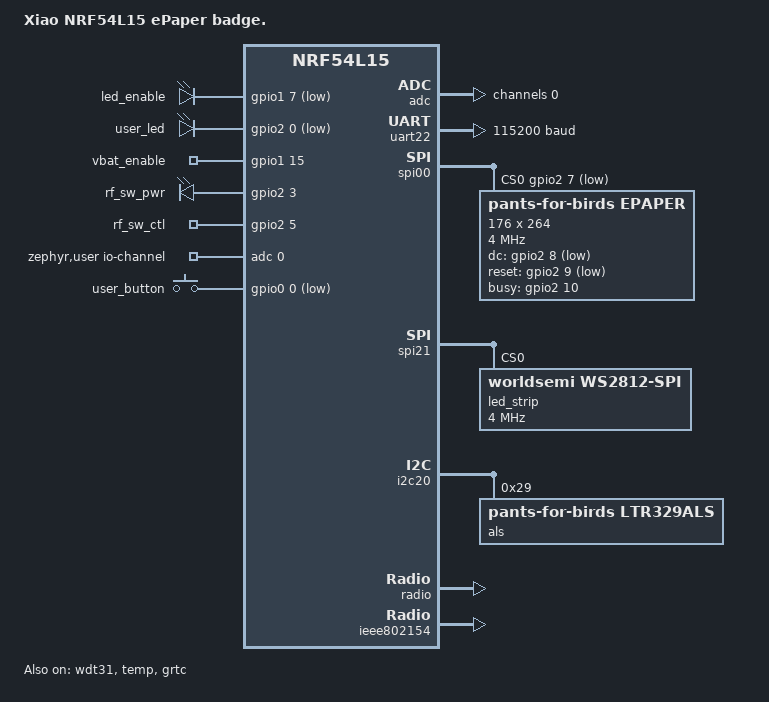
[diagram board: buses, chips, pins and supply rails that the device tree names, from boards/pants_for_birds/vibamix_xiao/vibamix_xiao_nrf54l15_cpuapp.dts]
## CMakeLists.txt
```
#
# Copyright (c) 2018 Nordic Semiconductor
#
# SPDX-License-Identifier: LicenseRef-Nordic-5-Clause
#
cmake_minimum_required(VERSION 3.20.0)

list(APPEND BOARD_ROOT ${CMAKE_CURRENT_SOURCE_DIR})

find_package(Zephyr REQUIRED HINTS $ENV{ZEPHYR_BASE})
project(vibamix)

# Shared headers + bl_state used by both the app and the bootloader.
target_include_directories(app PRIVATE ${CMAKE_CURRENT_SOURCE_DIR}/../common)

# NORDIC SDK APP START
target_sources(app PRIVATE
  src/main.cpp
  src/GUI.cpp
  src/LEDStrip.cpp
  src/MeshNode.cpp
  src/mesh_model.c
  src/image_xfer.c
  src/app_config.c
  src/identity.c
  src/factory_id.c
  src/qr_screen.cpp
  src/config_gatt.c
  src/ConfigMode.cpp
  src/battery.c
  src/LTR329ALS.cpp
  src/ambient_light_sensor.cpp
  src/badge_store.c
  src/dither.c
  src/ota.c
  src/gateway_status.cpp
  src/event_status.cpp
  ../common/bl_state.c
)

add_subdirectory(../peripherals/epd epd)
add_subdirectory(../peripherals/qrcodegen qrcodegen)

# --- OTA artifacts: auto-trailer this slot's image, and pack vibamix.ota --------
# A build only ever links one slot (CONFIG_FLASH_LOAD_OFFSET). As a POST_BUILD step
# (Zephyr's `extra_post_build_commands`, the same hook MCUboot signing uses) we
# append the CRC trailer to zephyr.bin -> slotA.bin/slotB.bin, then pack
# vibamix.ota once BOTH slot images exist. So `scripts/build_slots.sh` (which builds
# both slots into a shared dir) yields build/vibamix.ota with no extra steps, and a
# plain single build still auto-produces its trailered slotX.bin.
if(CONFIG_BUILD_OUTPUT_BIN AND DEFINED CONFIG_FLASH_LOAD_OFFSET)
  # Where the trailered slot bins + bundle go (build_slots.sh points this at one
  # shared dir for both slot builds; a plain build keeps them in its own build dir).
  set(VBX_ARTIFACTS_DIR "${CMAKE_BINARY_DIR}" CACHE PATH "OTA artifact output dir")
  # Monotonic image version; build_slots.sh passes one shared value for both slots.
  string(TIMESTAMP _vbx_ts "%s")
  set(VBX_VERSION "${_vbx_ts}" CACHE STRING "OTA image version (e.g. epoch seconds)")

  set(_vbx_bin     "${ZEPHYR_BINARY_DIR}/zephyr.bin")
  set(_vbx_scripts "${CMAKE_CURRENT_SOURCE_DIR}/scripts")

  # Which slot did we link? (offsets mirror slot_a/slot_b_partition in the board DTS.)
  math(EXPR _vbx_off "${CONFIG_FLASH_LOAD_OFFSET}")
  if(_vbx_off EQUAL 57344)         # 0xE000
    set(_vbx_slot "A")
  elseif(_vbx_off EQUAL 581632)    # 0x8E000
    set(_vbx_slot "B")
  else()
    set(_vbx_slot "")
  endif()

  if(_vbx_slot)
    set(_vbx_slotbin "${VBX_ARTIFACTS_DIR}/slot${_vbx_slot}.bin")
    # Ordered after zephyr.bin via a file-level DEPENDS (a POST_BUILD can't attach
    # to zephyr_final from this directory scope, and the app runs too late for the
    # extra_post_build_commands hook). After the bin exists it:
    #   1) appends the CRC trailer to this slot's raw image -> slotX.bin (the OUTPUT)
    #   2) packs vibamix.ota once BOTH slot images exist (byproduct; skips otherwise)
    add_custom_command(
      OUTPUT ${_vbx_slotbin}
      BYPRODUCTS ${VBX_ARTIFACTS_DIR}/vibamix.ota
      COMMAND ${PYTHON_EXECUTABLE} ${_vbx_scripts}/vbx_trailer.py
              ${_vbx_bin} ${_vbx_slotbin} --version ${VBX_VERSION}
      COMMAND ${CMAKE_COMMAND}
              -DA=${VBX_ARTIFACTS_DIR}/slotA.bin -DB=${VBX_ARTIFACTS_DIR}/slotB.bin
              -DOUT=${VBX_ARTIFACTS_DIR}/vibamix.ota -DPY=${PYTHON_EXECUTABLE}
              -DPACK=${_vbx_scripts}/pack_ota.py -DVER=${VBX_VERSION}
              -P ${_vbx_scripts}/pack_ota.cmake
      DEPENDS ${_vbx_bin}
      COMMENT "vibamix: trailer slot ${_vbx_slot} -> ${_vbx_slotbin}; pack vibamix.ota when both slots built"
      VERBATIM)
    add_custom_target(vbx_ota ALL DEPENDS ${_vbx_slotbin})
    message(STATUS "vibamix: slot ${_vbx_slot} -> ${_vbx_slotbin} (+ vibamix.ota when both slots built)")
  else()
    message(STATUS "vibamix: CONFIG_FLASH_LOAD_OFFSET=${CONFIG_FLASH_LOAD_OFFSET} is not a known slot; skipping OTA artifacts")
  endif()
endif()

# NORDIC SDK APP END
```

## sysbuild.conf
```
# Enable MCUboot so the app is built as a signed, dual-slot image that supports
# the BLE OTA update path (see src/ota.c + docs/ble-config-api.md).
#
# nRF54L defaults already give us ED25519 signing and swap-using-move; the mode
# is set explicitly here for clarity. Swap-using-move needs no scratch partition
# and supports revert (the new image self-confirms on boot — see ota_confirm_on_boot()).
#
# NOTE: a default (development) signing key is used. For production set
# SB_CONFIG_BOOT_SIGNATURE_KEY_FILE to a real key; the same key must verify both
# the running image and any OTA'd image.
SB_CONFIG_BOOTLOADER_MCUBOOT=y
SB_CONFIG_MCUBOOT_MODE_SWAP_USING_MOVE=y
```

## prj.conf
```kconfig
#
# Copyright (c) 2018 Nordic Semiconductor
#
# SPDX-License-Identifier: LicenseRef-Nordic-5-Clause
#
CONFIG_NCS_SAMPLES_DEFAULTS=y

# --- Bluetooth Mesh badge network ---
# Each badge is a self-provisioning mesh node. Messages travel over the mesh
# ADVERTISING bearer (scan + relay flood). There is intentionally NO SIG mesh GATT
# proxy: it advertises a connectable beacon unconditionally and can't be disabled
# at runtime, which would leave the badge connectable when idle. Instead the badge
# is connectable only in config mode (button), and a config-mode badge acts as the
# gateway — badgectl writes vendor-model access payloads to the config service and
# the firmware re-originates them onto the mesh group (mesh_model_send_to_group()).
# See src/MeshNode.cpp, src/mesh_model.c, src/config_gatt.c.
CONFIG_BT=y
CONFIG_BT_OBSERVER=y          # mesh scans for incoming network PDUs
CONFIG_BT_PERIPHERAL=y        # the custom config GATT service (config mode only)
CONFIG_BT_DEVICE_NAME="vibamix"
CONFIG_BT_MESH=y
CONFIG_BT_MESH_RELAY=y        # rebroadcast so one injection reaches all badges
# NOTE: deliberately NOT enabling CONFIG_BT_MESH_GATT_PROXY / _PB_GATT (always-on
# connectable advertising) or CONFIG_BT_MESH_DK_PROV — badges self-provision with
# baked-in keys (zero-config) and are connectable only in config mode.

# SAR window sized for chunked ePaper image transfer (~113 B access payload/msg).
CONFIG_BT_MESH_RX_SEG_MAX=10
CONFIG_BT_MESH_TX_SEG_MAX=10
CONFIG_BT_MESH_RX_SEG_MSG_COUNT=2
CONFIG_BT_MESH_MODEL_GROUP_COUNT=2
CONFIG_BT_MESH_MODEL_KEY_COUNT=1

# Persistence on RRAM via ZMS (nRF54L15 uses ZMS, not NVS).
CONFIG_FLASH=y
CONFIG_FLASH_MAP=y
CONFIG_SETTINGS=y
CONFIG_ZMS=y
CONFIG_NVS=n
CONFIG_SETTINGS_ZMS_CUSTOM_SECTOR_COUNT=y
CONFIG_SETTINGS_ZMS_SECTOR_COUNT=16
CONFIG_ZMS_LOOKUP_CACHE=y
CONFIG_ZMS_LOOKUP_CACHE_FOR_SETTINGS=y
CONFIG_BT_SETTINGS=y          # persist mesh seq/RPL/IV across reboots

# Deterministic unicast address derived from the FICR device id.
CONFIG_HWINFO=y

# Battery-voltage ADC (SAADC on AIN7) — see src/battery.c.
CONFIG_ADC=y

# --- Config mode: button-triggered QR + Web Bluetooth onboarding ---
# Per-device GAP name "vibamix-XXXX" so a browser can pick this exact badge; the
# config-mode fast advertiser carries it in its scan response. See src/ConfigMode.cpp.
CONFIG_BT_DEVICE_NAME_DYNAMIC=y
CONFIG_BT_DEVICE_NAME_MAX=28
CONFIG_BT_MAX_CONN=2
# A dedicated fast connectable advertiser during config mode (config service UUID +
# name in the primary AD, ~100 ms) so a laptop finds the badge instantly. The mesh
# stack already reserves 4 ext-adv sets here (main + 2 relay + separate-GATT); add
# one for ours. See start_fast_adv() in src/ConfigMode.cpp.
CONFIG_BT_EXT_ADV=y
CONFIG_BT_EXT_ADV_MAX_ADV_SET=5
# Fast GATT image upload: large ATT MTU + LL data length so a draw uploads quickly.
CONFIG_BT_L2CAP_TX_MTU=247
CONFIG_BT_BUF_ACL_TX_SIZE=251
CONFIG_BT_BUF_ACL_RX_SIZE=251
CONFIG_BT_CTLR_DATA_LENGTH_MAX=251

CONFIG_SYSTEM_WORKQUEUE_STACK_SIZE=4096
CONFIG_BT_RX_STACK_SIZE=5120

CONFIG_CPP=y

CONFIG_SPI=y
CONFIG_I2C=y
CONFIG_GPIO=y
CONFIG_LED_STRIP=y

# CONFIG_SERIAL=y
# CONFIG_CONSOLE=y
# CONFIG_UART_CONSOLE=y

# Deep sleep (System OFF) after the boot LED animation — see main.cpp.
CONFIG_POWEROFF=y

# --- Custom direct-XIP OTA (no MCUboot; see firmware/bootloader/ + src/ota.c) ---
# The app is linked into a slot via the DT code-partition; OTA writes the other
# slot raw via flash_area and a CRC trailer, then reboots into the bootloader.
CONFIG_USE_DT_CODE_PARTITION=y
CONFIG_REBOOT=y
CONFIG_WATCHDOG=y   # the app feeds wdt31 (armed by the bootloader) to signal a valid boot
```

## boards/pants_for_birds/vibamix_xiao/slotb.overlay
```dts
/*
 * Direct-XIP slot-B build overlay. The default board DTS links the app into
 * slot A; pass this via -DEXTRA_DTC_OVERLAY_FILE to link the same source into
 * slot B instead (CONFIG_FLASH_LOAD_OFFSET follows the chosen code-partition).
 * See scripts/build_slots.sh and src/slots.h.
 */
/ {
	chosen {
		zephyr,code-partition = &slot_b_partition;
	};
};
```

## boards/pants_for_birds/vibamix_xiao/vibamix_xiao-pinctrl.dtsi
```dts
#include <dt-bindings/pinctrl/nrf-pinctrl.h>

&pinctrl {
	/* ePaper display on high-speed SPI00 - MISO omitted, display is write-only.
	 * spi00 (not spi20) so SERIAL20 stays free for the i2c20 light sensor; pins
	 * are unchanged (spi00 natively reaches P2.01/P2.02).
	 */
	spi00_default: spi00_default {
		group1 {
			psels = <NRF_PSEL(SPIM_SCK,  2, 1)>,	/* P2.01 SPI_CLK  */
				<NRF_PSEL(SPIM_MOSI, 2, 2)>;	/* P2.02 SPI_MOSI */
		};
	};

	spi00_sleep: spi00_sleep {
		group1 {
			psels = <NRF_PSEL(SPIM_SCK,  2, 1)>,
				<NRF_PSEL(SPIM_MOSI, 2, 2)>;
			low-power-enable;
		};
	};

	/* WS2812 LED strip - SCK routed to NC P1.05, only MOSI (DIN) is wired */
	spi21_default: spi21_default {
		group1 {
			psels = <NRF_PSEL(SPIM_MOSI, 1, 6)>,	/* P1.06 LED_DIN  */
				<NRF_PSEL(SPIM_SCK,  1, 5)>;	/* P1.05 NC       */
		};
	};

	spi21_sleep: spi21_sleep {
		group1 {
			psels = <NRF_PSEL(SPIM_MOSI, 1, 6)>,
				<NRF_PSEL(SPIM_SCK,  1, 5)>;
			low-power-enable;
		};
	};

	/* UART22 - logging */
	uart22_default: uart22_default {
		group1 {
			psels = <NRF_PSEL(UART_TX, 1, 9)>,	/* P1.09 UART_TX */
				<NRF_PSEL(UART_RX, 1, 8)>;	/* P1.08 UART_RX */
		};
	};

	uart22_sleep: uart22_sleep {
		group1 {
			psels = <NRF_PSEL(UART_TX, 1, 9)>,
				<NRF_PSEL(UART_RX, 1, 8)>;
			low-power-enable;
		};
	};

	/* Light sensor I2C bus (SERIAL20) - free now that the ePaper moved to spi00 */
	i2c20_default: i2c20_default {
		group1 {
			psels = <NRF_PSEL(TWIM_SDA, 1, 10)>,	/* P1.10 LIGHT_SENSOR_SDA */
				<NRF_PSEL(TWIM_SCL, 1, 11)>;	/* P1.11 LIGHT_SENSOR_SCL */
			bias-pull-up;
		};
	};

	i2c20_sleep: i2c20_sleep {
		group1 {
			psels = <NRF_PSEL(TWIM_SDA, 1, 10)>,
				<NRF_PSEL(TWIM_SCL, 1, 11)>;
			low-power-enable;
		};
	};
};
```

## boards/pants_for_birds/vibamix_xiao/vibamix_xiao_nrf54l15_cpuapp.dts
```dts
/dts-v1/;

#include <nordic/nrf54l15_cpuapp.dtsi>
#include "vibamix_xiao-pinctrl.dtsi"
#include <zephyr/dt-bindings/led/led.h>
#include <zephyr/dt-bindings/adc/adc.h>
#include <zephyr/dt-bindings/adc/nrf-saadc.h>

/ {
	model = "Xiao NRF54L15 ePaper badge.";
	compatible = "pants_for_birds,vibamix-xiao-cpuapp";

	chosen {
		/* Default app build links into slot A. The slot-B build overrides this
		 * via boards/.../slotb.overlay (direct-XIP A/B). */
		zephyr,code-partition = &slot_a_partition;
		zephyr,sram = &cpuapp_sram;
		zephyr,flash = &cpuapp_rram;
		zephyr,flash-controller = &rram_controller;
		zephyr,console = &uart22;
		zephyr,settings-partition = &storage_partition;
	};

	/* LED strip power enable - active low */
	leds {
		compatible = "gpio-leds";
		led_enable: led_enable {
			gpios = <&gpio1 7 GPIO_ACTIVE_LOW>;    /* P1.07 LED_ENABLE */
		};
		user_led: user_led {
			gpios = <&gpio2 0 GPIO_ACTIVE_LOW>;    /* P2.00 USER_LED  */
		};
		/* TPS22916 load switch enabling the battery-voltage divider.
		 * Drive active only while sampling the battery (it powers the 10K/10K
		 * divider on the AIN7 net) — see src/battery.c. */
		vbat_enable: vbat_enable {
			gpios = <&gpio1 15 GPIO_ACTIVE_HIGH>;  /* P1.15 VBAT_EN */
		};
		/* Antenna RF switch (U10, FM8625H). VDD must be powered for the switch
		 * to pass signal; VCTL selects the port:
		 *   RF_SW_CTL LOW  -> RF1 -> ANT1 (onboard chip antenna)
		 *   RF_SW_CTL HIGH -> RF2 -> ANT2 (external antenna)
		 * Driven active at boot in main() to select the external antenna. */
		rf_sw_pwr: rf_sw_pwr {
			gpios = <&gpio2 3 GPIO_ACTIVE_HIGH>;   /* P2.03 RF_SW_PWR */
		};
		rf_sw_ctl: rf_sw_ctl {
			gpios = <&gpio2 5 GPIO_ACTIVE_HIGH>;   /* P2.05 RF_SW_CTL */
		};
	};

	/* Battery voltage monitor: VBAT -> load switch -> 10K/10K divider -> P1.14 (AIN7).
	 * battery_mV = AIN7_mV * 2. */
	zephyr,user {
		io-channels = <&adc 0>;
	};

	buttons {
		compatible = "gpio-keys";
		user_button: user_button {
			/* External pullup — no GPIO_PULL_UP flag */
			gpios = <&gpio0 0 GPIO_ACTIVE_LOW>;    /* P0.00 USER_KEY  */
		};
	};

	aliases {
		led-strip   = &led_strip;
		epaper      = &epaper;
		user-led    = &user_led;
		user-button = &user_button;
		watchdog0   = &wdt31;
	};
};

/* Watchdog for the custom OTA rollback: the bootloader arms it before jumping;
 * the app feeds it and (PAUSE_IN_SLEEP) it stops during System OFF. See src/ota.c. */
&wdt31 {
	status = "okay";
};

/* Battery-voltage ADC on AIN7 (P1.14). The nRF54L15 SAADC internal reference is
 * 0.9 V and (unlike the nRF52) has no 1/6 gain, so use gain 1/4 -> 0..3.6 V full
 * scale, covering the ~1.5..2.1 V divider output for a 1S LiPo (3.0..4.2 V).
 * (ADC_GAIN_1_6 + 600 mV here silently failed adc_channel_setup -> "--V".) */
&adc {
	#address-cells = <1>;
	#size-cells = <0>;
	status = "okay";

	channel@0 {
		reg = <0>;
		zephyr,gain = "ADC_GAIN_1_4";
		zephyr,reference = "ADC_REF_INTERNAL";
		zephyr,vref-mv = <900>;
		zephyr,acquisition-time = <ADC_ACQ_TIME_DEFAULT>;
		zephyr,input-positive = <NRF_SAADC_AIN7>;   /* P1.14 divider midpoint */
		zephyr,resolution = <12>;
	};
};

/* Logging UART */
&uart22 {
	compatible = "nordic,nrf-uarte";
	status = "okay";
	pinctrl-0 = <&uart22_default>;
	pinctrl-1 = <&uart22_sleep>;
	pinctrl-names = "default", "sleep";
	current-speed = <115200>;
};

/* ePaper display on SPI00 (high-speed SERIAL00).
 * NOT on spi20: spi20 and i2c20 are the same SERIAL20 hardware block and are
 * mutually exclusive, so the display would clash with the light sensor on i2c20.
 * spi00 is the free high-speed SPIM and reaches the same P2.01/P2.02 pins, so the
 * ePaper lives here and the sensor keeps SERIAL20 — both run concurrently.
 */
&spi00 {
	compatible = "nordic,nrf-spim";
	status = "okay";
	pinctrl-0 = <&spi00_default>;
	pinctrl-1 = <&spi00_sleep>;
	pinctrl-names = "default", "sleep";
	cs-gpios = <&gpio2 7 GPIO_ACTIVE_LOW>;        /* P2.07 SCREEN_CS  */

	epaper: epaper@0 {
		compatible = "pants-for-birds,epaper";
		reg = <0>;
		spi-max-frequency = <4000000>;
		width = <176>;
		height = <264>;
		dc-gpios = <&gpio2 8 GPIO_ACTIVE_LOW>;    /* P2.08 SCREEN_D/C  */
		reset-gpios = <&gpio2 9 GPIO_ACTIVE_LOW>;    /* P2.09 SCREEN_RES  */
		busy-gpios = <&gpio2 10 GPIO_ACTIVE_HIGH>;    /* P2.10 SCREEN_BUSY */
	};
};

/* WS2812 LED strip on SPI21 - only MOSI (P1.06) is physically connected */
&spi21 {
	compatible = "nordic,nrf-spim";
	status = "okay";
	pinctrl-0 = <&spi21_default>;
	pinctrl-1 = <&spi21_sleep>;
	pinctrl-names = "default", "sleep";

	led_strip: ws2812@0 {
		compatible = "worldsemi,ws2812-spi";
		reg = <0>;
		/* 4 MHz: one SPI bit = 250 ns, so the frame patterns below give a
		 * 750 ns "1" pulse (T1H) and 250 ns "0" pulse (T0H). The 0x70/0x40
		 * pair is ONLY valid at 4 MHz — at 8 MHz the "1" pulse halves to
		 * 375 ns and every WS2812 bit decodes as 0 (all LEDs stay dark).
		 */
		spi-max-frequency = <DT_FREQ_M(4)>;
		chain-length = <4>;            /* D4-D7 WS2812B chain */
		color-mapping = <LED_COLOR_ID_GREEN
		LED_COLOR_ID_RED
		LED_COLOR_ID_BLUE>;
		spi-one-frame = <0x70>;        /* 0b01110000: 750 ns high @ 4 MHz */
		spi-zero-frame = <0x40>;       /* 0b01000000: 250 ns high @ 4 MHz */
	};
};

/* Light sensor I2C bus (SERIAL20). Free to use now that the ePaper moved off
 * spi20 to the high-speed spi00 — see the ePaper node above.
 */
&i2c20 {
	compatible = "nordic,nrf-twim";
	status = "okay";
	pinctrl-0 = <&i2c20_default>;
	pinctrl-1 = <&i2c20_sleep>;
	pinctrl-names = "default", "sleep";

	als: ltr329als@29 {
		compatible = "pants-for-birds,ltr329als";
		reg = <0x29>;
		status = "okay";
	};
};

&lfxo {
	load-capacitors = "internal";
	load-capacitance-femtofarad = <15000>;
};

&hfxo {
	load-capacitors = "internal";
	load-capacitance-femtofarad = <15000>;
};

&clock {
	status = "okay";
};

&radio {
	status = "okay";
};

&ieee802154 {
	status = "okay";
};

&temp {
	status = "okay";
};

&gpio0 {
	status = "okay";
};

&gpio1 {
	status = "okay";
};

&gpio2 {
	status = "okay";
};

&gpiote20 {
	status = "okay";
};

&gpiote30 {
	status = "okay";
};

&grtc {
	owned-channels = <0 1 2 3 4 5 6 7 8 9 10 11>;
	/* Channels 7-11 reserved for Zero Latency IRQs, 3-4 for FLPR */
	child-owned-channels = <3 4 7 8 9 10 11>;
	status = "okay";
};

&cpuapp_sram {
	status = "okay";
};

&cpuapp_rram {
	partitions {
		compatible = "fixed-partitions";
		#address-cells = <1>;
		#size-cells = <1>;

		/* Custom direct-XIP A/B layout (no MCUboot). The first-stage bootloader
		 * lives at 0x0 and CRC-verifies + chain-loads slot_a or slot_b; the app
		 * is built twice, linked per slot. See firmware/bootloader/ + src/ota.c. */
		bootloader_partition: partition@0 {
			label = "bootloader";
			reg = <0x0 DT_SIZE_K(48)>;
		};

		/* Bootloader metadata (per-slot valid/confirmed/version/attempts), written
		 * as a 32-byte append log; 2x 4K sectors for wear. See common/bl_state.c. */
		bl_state_partition: partition@c000 {
			label = "bl_state";
			reg = <0xc000 DT_SIZE_K(8)>;
		};

		slot_a_partition: partition@e000 {
			label = "image-a";
			reg = <0xe000 DT_SIZE_K(512)>;
		};

		slot_b_partition: partition@8e000 {
			label = "image-b";
			reg = <0x8e000 DT_SIZE_K(512)>;
		};

		/* Five 16K image slots (raw flash via flash_area; see src/badge_store.c):
		 * four user image frames (slots 0..3) plus the identity image (slot 4).
		 * Each slot holds a 2-bit grayscale (11616 B) or 1-bit B/W (5808 B) image
		 * plus a 16-byte header. */
		images_partition: partition@10e000 {
			label = "images";
			reg = <0x10e000 DT_SIZE_K(80)>;
		};

		storage_partition: partition@122000 {
			label = "storage";
			reg = <0x122000 DT_SIZE_K(264)>;
		};

		/* Per-unit factory record (assigned + written once at manufacturing by
		 * firmware/flashtool/; read-only at runtime via src/factory_id.c). Holds
		 * the badge's unique 15-bit id so the mesh unicast address / config code /
		 * GAP name don't collide across a large fleet. Kept at the flash tail so
		 * `storage` keeps its offset. */
		factory_partition: partition@164000 {
			label = "factory";
			reg = <0x164000 DT_SIZE_K(4)>;
		};
	};
};
```

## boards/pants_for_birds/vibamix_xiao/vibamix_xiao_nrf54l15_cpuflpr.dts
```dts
/dts-v1/;

#include <nordic/nrf54l15_cpuflpr.dtsi>
#include "vibamix_xiao-pinctrl.dtsi"

/ {
	model = "Xiao NRF54L15 ePaper badge.";
	compatible = "pants_for_birds,vibamix-xiao-cpuflpr";

	chosen {
		zephyr,code-partition = &cpuflpr_code_partition;
		zephyr,flash = &cpuflpr_rram;
		zephyr,sram = &cpuflpr_sram;
	};
};

&cpuflpr_sram {
	status = "okay";
	reg = <0x20028000 DT_SIZE_K(96)>;
	ranges = <0x0 0x20028000 DT_SIZE_K(96)>;
};

&cpuflpr_rram {
	partitions {
		compatible = "fixed-partitions";
		#address-cells = <1>;
		#size-cells = <1>;
		ranges;

		cpuflpr_code_partition: partition@0 {
			label = "image-0";
			reg = <0x0 DT_SIZE_K(96)>;
		};
	};
};

&grtc {
	owned-channels = <3 4>;
	status = "okay";
};
```

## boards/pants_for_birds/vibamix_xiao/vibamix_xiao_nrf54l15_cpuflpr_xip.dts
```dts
#include "vibamix_xiao_nrf54l15_cpuflpr.dts"

/ {
	compatible = "pants_for_birds,vibamix-xiao-cpuflpr-xip";
};

&cpuflpr_sram {
	reg = <0x2002f000 DT_SIZE_K(68)>;
	ranges = <0x0 0x2002f000 DT_SIZE_K(68)>;
};
```

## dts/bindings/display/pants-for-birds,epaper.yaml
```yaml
description: Custom ePaper display controller

compatible: "pants-for-birds,epaper"

include: spi-device.yaml

properties:
  dc-gpios:
    type: phandle-array
    required: true
    description: Data/Command select (D/C#). Active low selects command mode.

  reset-gpios:
    type: phandle-array
    required: true
    description: Reset line. Active low resets the controller.

  busy-gpios:
    type: phandle-array
    required: true
    description: Busy indicator. Active high means the controller is busy.

  width:
    type: int
    required: true
    description: Display width in pixels.

  height:
    type: int
    required: true
    description: Display height in pixels.
```

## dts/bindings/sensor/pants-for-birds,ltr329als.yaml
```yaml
description: LTR-329ALS-01 Ambient Light Sensor

compatible: "pants-for-birds,ltr329als"

include: i2c-device.yaml
```

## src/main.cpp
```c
/*
 * Copyright (c) 2018 Nordic Semiconductor ASA
 *
 * SPDX-License-Identifier: LicenseRef-Nordic-5-Clause
 */

#include <cmsis_core.h>
#include <hal/nrf_wdt.h>
#include <zephyr/devicetree.h>
#include <zephyr/kernel.h>
#include <zephyr/drivers/gpio.h>
#include <zephyr/drivers/hwinfo.h>
#include <zephyr/sys/atomic.h>
#include <zephyr/sys/poweroff.h>
#include <zephyr/sys/printk.h>

#include "ConfigMode.h"
#include "GUI.h"
#include "MeshNode.h"
#include "LEDStrip.h"
#include "ambient_light_sensor.h"
#include "app_config.h"
#include "event_status.h"
#include "qr_screen.h"
#include "ota.h"

// How long the badge stays awake after a normal boot before deep-sleeping. The
// identity frame's bottom countdown bar counts down this window; a button press
// during it jumps straight into config mode. Each event heartbeat (when an event
// mesh is connected) resets the deadline to now + this window.
static constexpr uint32_t kAwakeMs = 60 * 1000;
static constexpr int      kAwakeTotalSec = kAwakeMs / 1000;

// Full refresh every N countdown-bar repaints to clear partial-refresh ghosting.
static constexpr int kBarFullRefreshEvery = 30;

// Ignore button edges closer together than this (contact debounce).
static constexpr uint32_t kBtnDebounceMs = 80;

// Hold the button this long (continuously) to force the badge into deep sleep from
// any awake state; polled at this cadence by s_longpress_timer.
static constexpr uint32_t kForceSleepHoldMs = 5000;
static constexpr uint32_t kLongPressPollMs  = 100;

// When a debugger has enabled halting debug, a true System OFF can't be cleanly
// reset/halted over SWD, making "reset device" slow/unpredictable. Set this to 1
// to keep the badge awake (fake sleep) under a debugger instead of powering off.
// Default 0: always enter real System OFF.
#ifndef VIBAMIX_FAKE_SLEEP_UNDER_DEBUGGER
#define VIBAMIX_FAKE_SLEEP_UNDER_DEBUGGER 0
#endif

static const struct gpio_dt_spec user_led = GPIO_DT_SPEC_GET(DT_ALIAS(user_led), gpios);
static const struct gpio_dt_spec user_btn = GPIO_DT_SPEC_GET(DT_ALIAS(user_button), gpios);

// Antenna RF switch (U10, FM8625H): rf_sw_pwr powers the switch (VDD), rf_sw_ctl
// selects the port. HIGH -> RF2 -> ANT2 (external antenna). See board DTS.
static const struct gpio_dt_spec rf_sw_pwr = GPIO_DT_SPEC_GET(DT_NODELABEL(rf_sw_pwr), gpios);
static const struct gpio_dt_spec rf_sw_ctl = GPIO_DT_SPEC_GET(DT_NODELABEL(rf_sw_ctl), gpios);

static struct gpio_callback btn_cb_data;

// Set (debounced) by the button ISR; consumed by the awake-window loop below.
static volatile bool s_btn_event;

// Static globals keep the 5808-byte image buffer in .bss, not the main stack.
static GUI       s_gui;
static MeshNode  s_mesh;
static LEDStrip  s_leds;
static ConfigMode s_config;

static void button_pressed(const struct device *dev, struct gpio_callback *cb, uint32_t pins)
{
	static uint32_t last_ms;
	uint32_t now = k_uptime_get_32();

	if (now - last_ms < kBtnDebounceMs) {
		return;   // bounce
	}
	last_ms = now;

	printk("User button pressed\n");
	s_btn_event = true;        // wake/enter signal for the awake window
	config_mode_on_button();   // exit signal if already in config mode
}

// Set once the user has held the button for kForceSleepHoldMs; the awake-window and
// config-mode loops poll this and bail out to enter_deep_sleep(). Reset on the next
// boot (a System OFF wake is a full reboot).
static atomic_t s_force_sleep = ATOMIC_INIT(0);

extern "C" bool app_force_sleep_requested(void)
{
	return atomic_get(&s_force_sleep) != 0;
}

// Set by the SET_CONFIG_MODE mesh opcode (on the BT thread) to request entering
// config mode; consumed by run_awake_window() on the main thread, so it only takes
// effect while the badge is awake. Mirrors the s_btn_event "enter config" signal.
static atomic_t s_enter_config = ATOMIC_INIT(0);

extern "C" void app_request_config_mode(void)
{
	atomic_set(&s_enter_config, 1);
}

// Poll the button level; once it has been held continuously for kForceSleepHoldMs,
// latch the force-sleep flag, light the user LED as a "hold registered" cue (it's
// turned off again by gpio_lowpower_for_sleep() when the badge actually powers down),
// and nudge config mode to exit. ISR context: only register reads/writes + an atomic.
static void longpress_poll_fn(struct k_timer *t)
{
	ARG_UNUSED(t);
	static uint32_t held_ms;

	if (gpio_is_ready_dt(&user_btn) && gpio_pin_get_dt(&user_btn) == 1) {
		held_ms += kLongPressPollMs;
		if (held_ms >= kForceSleepHoldMs && !atomic_get(&s_force_sleep)) {
			printk("Button held %u ms - forcing deep sleep\n", held_ms);
			atomic_set(&s_force_sleep, 1);
			if (gpio_is_ready_dt(&user_led)) {
				gpio_pin_set_dt(&user_led, 1);   // active-low -> LED on
			}
			config_mode_on_button();             // break ConfigMode's loop if active
		}
	} else {
		held_ms = 0;   // released (or a bounce) -> restart the hold count
	}
}
static K_TIMER_DEFINE(s_longpress_timer, longpress_poll_fn, NULL);

// Block until the button is released (logical inactive) or a timeout, so we
// never arm an edge/level interrupt — or enter System OFF — with it still held.
static void wait_button_release(void)
{
	for (int i = 0; i < 500 && gpio_pin_get_dt(&user_btn) == 1; i++) {
		k_sleep(K_MSEC(10));
	}
}

// True if we woke from System OFF via the armed user button, vs a cold boot
// (battery insert = POR, debugger/reset = PIN). On nRF54L the System-OFF GPIO
// wake is reported as RESET_LOW_POWER_WAKE.
static bool woke_from_button(void)
{
	uint32_t cause = 0;

	if (hwinfo_get_reset_cause(&cause) != 0) {
		return false;
	}
	hwinfo_clear_reset_cause();   // RESETREAS is sticky; clear so next boot is clean
	return (cause & RESET_LOW_POWER_WAKE) != 0;
}

#if VIBAMIX_FAKE_SLEEP_UNDER_DEBUGGER
// True if an SWD debugger has enabled halting debug (C_DEBUGEN). We skip System
// OFF in that case: a powered-down core can't be cleanly reset/halted, which
// makes "reset device" in the debugger slow and unpredictable.
static inline bool debugger_attached(void)
{
	return (DCB->DHCSR & DCB_DHCSR_C_DEBUGEN_Msk) != 0;
}
#endif

// The bootloader arms wdt31 (only) when chain-loading an unconfirmed trial image
// and leaves it running across the jump. We feed it directly via the HAL (the
// Zephyr driver can't feed a channel it didn't install) once a healthy boot is
// confirmed; before that point the dog runs unfed, so an image that hangs during
// early bring-up is reset and rolled back by the bootloader.
static NRF_WDT_Type *const s_wdt = (NRF_WDT_Type *)DT_REG_ADDR(DT_NODELABEL(wdt31));

static void wdt_feed_fn(struct k_timer *t)
{
	ARG_UNUSED(t);
	nrf_wdt_reload_request_set(s_wdt, NRF_WDT_RR0);
}
static K_TIMER_DEFINE(s_wdt_timer, wdt_feed_fn, NULL);

// Start keeping the watchdog fed for the rest of this awake session. It pauses
// itself in System OFF (WDT_OPT_PAUSE_IN_SLEEP), so deep sleep is safe.
static void wdt_keepalive_start(void)
{
	nrf_wdt_reload_request_set(s_wdt, NRF_WDT_RR0);
	k_timer_start(&s_wdt_timer, K_SECONDS(2), K_SECONDS(2));
}

// Float app-owned, non-wake GPIOs to high impedance before System OFF. nRF54L15 does not
// reliably hold a *driven* output through System OFF, so rather than fight that we
// disconnect these pins and let the board's pull resistors settle each net into its safe
// (off) state — e.g. the external pull-up on the WS2812 power-bus PMOS gate (P1.07, cut by
// LEDStrip::off()) keeps the strip's VDD disabled. High-Z also draws no current itself.
// main() re-drives all of these on the next wake.
//
// The user button (P0.00) is NOT touched here — enter_deep_sleep() arms it as the
// wake source afterwards, so this must run first. The ePaper control pins
// (CS/DC/RST/BUSY) are deliberately left as the EPD driver left them: the panel is
// bistable and already in deep sleep, and GUI::init() reconfigures them at boot;
// disturbing them risks the retained image.
static void gpio_lowpower_for_sleep(void)
{
	// Antenna RF switch (U10) control + VDD, and the user status LED: disconnect so the
	// board pulls hold them off. (The WS2812 power-bus gate P1.07 is floated by
	// LEDStrip::off(), which ran first in enter_deep_sleep().)
	if (gpio_is_ready_dt(&rf_sw_ctl))
	{
		gpio_pin_configure_dt(&rf_sw_ctl, GPIO_DISCONNECTED);
	}
	if (gpio_is_ready_dt(&rf_sw_pwr))
	{
		gpio_pin_configure_dt(&rf_sw_pwr, GPIO_DISCONNECTED);
	}
	if (gpio_is_ready_dt(&user_led))
	{
		gpio_pin_configure_dt(&user_led, GPIO_DISCONNECTED);
	}
}

// The single deep-sleep (System OFF) path: blank the LEDs, rest the panel on the
// "asleep" identity frame, power down the non-wake GPIOs, arm the user button as the
// wake source, then power off. Every non-debugger exit funnels through here so this
// cleanup can never be skipped.
static void enter_deep_sleep(void)
{
	printk("Entering deep sleep\n");

	// Stop the long-press poll timer so it isn't reading the button between the
	// System-OFF wake arming and sys_poweroff() below.
	k_timer_stop(&s_longpress_timer);

	// 1. LEDs off, unconditionally — cuts the WS2812 power gate even if the strip
	//    failed to init (that path leaves the gate driven active otherwise).
	s_leds.off();

	// 2. Rest the bistable panel on the identity frame with the asleep indicator.
	s_mesh.redraw_identity(/*sleeping=*/true);

	// 3. Power down the antenna switch + other non-wake GPIOs.
	gpio_lowpower_for_sleep();

	// 4. Arm the user button as the System OFF wake source — last, so the GPIO
	//    reconfig above can't disturb its SENSE. Wait for release first so a still-
	//    held button doesn't immediately re-wake.
	if (gpio_is_ready_dt(&user_btn))
	{
		wait_button_release();
		gpio_pin_interrupt_configure_dt(&user_btn, GPIO_INT_LEVEL_ACTIVE);
	}

	// 5. Deep sleep. The ePaper keeps its image with no power. System OFF powers the
	//    radio + peripherals down in hardware (no bt_disable() needed). Wake by a
	//    button press (RESET_LOW_POWER_WAKE) or a reset — a full reboot that re-runs
	//    main()/MeshNode::init() to bring BT/mesh back up.
	sys_poweroff();
}

// Identity-frame awake window: rest on the identity frame and tick a thin bottom
// countdown bar down to deep sleep. Each 1 Hz event-mesh heartbeat resets the
// deadline (and switches the bar's left text to the event name), so the badge stays
// awake for the duration of an event ("mesh mode"). Returns true if the user button
// was pressed (caller re-enters config mode), false on timeout (caller deep-sleeps).
// The caller must have established the identity frame as the panel base first (via
// apply_persisted_config / redraw_identity).
static bool run_awake_window(void)
{
	// A 5 s hold already latched force-sleep (e.g. while exiting config mode) — go
	// straight to deep sleep without opening the window or waiting on the held button.
	if (atomic_get(&s_force_sleep)) {
		return false;
	}

	// Drop a still-held / already-latched press (e.g. the one that just exited config
	// mode) so the window doesn't close the instant it opens.
	wait_button_release();
	s_btn_event = false;
	atomic_clear(&s_enter_config);   // drop any stale mesh enter-config request

	const struct app_config *cfg = app_config_get();
	const char *id_name  = cfg->name;
	const char *id_table = cfg->has_attendee ? cfg->attendee_id : "";

	int64_t now = k_uptime_get();
	int64_t deadline = now + kAwakeMs;
	int     bar_tick = 0;
	int     last_remaining = -1;
	int64_t last_bar_ms = 0;
	bool    force_rebase = false;   // a deferred render replaced the panel frame

	// The countdown bar overlays whatever frame is on the panel — identity, or a text
	// or image frame pushed mid-window — so every non-config frame auto-sleeps on the
	// deadline unless event heartbeats keep it awake. A full-screen 4-gray frame can't
	// be partial-refreshed whole-frame (that would flatten the gray), so over a gray
	// frame the bar holds static (no live tick) and the window runs purely on the
	// deadline; 1-bit frames tick the opaque bottom banner via a region refresh.
	// Re-read after each content render below, since the frame (and its gray-ness) changes.
	bool gray = s_mesh.current_frame_is_gray();

	// The name/ID banner is drawn only on the identity frame; text/image frames get the
	// bare countdown fill so their content isn't covered. Re-read after a content render.
	bool on_identity = s_mesh.current_frame_is_identity();

	// Take ownership of the panel: while this loop runs, mesh content commands
	// (arriving on the BT thread) must NOT render the ePaper themselves — that races
	// this thread's countdown refresh and wedges the panel, after which the button is
	// never serviced. Defer them to consume_pending_render() below. Set before the
	// first wake() so there's no window where the main loop drives the panel undeferred.
	s_mesh.set_defer_renders(true);

	// Wake the panel for the partial-refresh countdown ticks (the identity redraw
	// left it asleep after its full-refresh baseline draw).
	s_gui.wake();

	while ((now = k_uptime_get()) < deadline && !s_btn_event &&
	       !atomic_get(&s_force_sleep) && !atomic_get(&s_enter_config))
	{
		if (event_status_consume_heartbeat())
		{
			deadline = now + kAwakeMs;
		}

		// Render any mesh content staged on the BT thread, on THIS thread, so the
		// panel stays single-threaded. The render left a new frame on the panel and
		// the panel asleep, so re-wake for the partial ticks and re-base the bar
		// (set_base_map) on the next tick rather than partial-refreshing over a stale base.
		if (s_mesh.consume_pending_render())
		{
			s_gui.wake();
			gray = s_mesh.current_frame_is_gray();   // the new frame may be 1-bit or 4-gray
			on_identity = s_mesh.current_frame_is_identity();
			force_rebase = true;
			last_remaining = -1;
			last_bar_ms = 0;
		}

		// (LEDs animate on their own thread; see LEDStrip::init.)

		// A full-screen 4-gray frame is static — a 1-bit partial can't run over it, so
		// there's no live bar to tick (heartbeats/button/timeout below still drive the
		// window). A 1-bit frame repaints its countdown bar ~1 Hz (flash-free partial
		// refresh) — with the name/ID banner only on the identity frame (on_identity).
		if (!gray && now - last_bar_ms >= 1000)
		{
			last_bar_ms = now;
			int remaining = (int)((deadline - now + 999) / 1000);
			if (remaining != last_remaining)
			{
				last_remaining = remaining;
				identity_countdown_overlay(
					s_gui, id_name, id_table, on_identity,
					remaining, kAwakeTotalSec);
				if (force_rebase)
				{
					force_rebase = false;
					s_gui.set_base_map();
				}
				else if (++bar_tick % kBarFullRefreshEvery == 0)
				{
					s_gui.set_base_map();
				}
				else
				{
					s_gui.refresh_partial();
				}
			}
		}

		k_sleep(K_MSEC(LEDStrip::kFrameMs));
	}

	// Leaving the window (button or timeout): stop deferring and drop any work staged
	// after the last drain, so a stale mesh frame can't render once config mode or
	// deep-sleep owns the panel.
	s_mesh.set_defer_renders(false);

	// A forced sleep (5 s hold) must go to deep sleep, not be treated as a press that
	// re-enters config mode.
	if (atomic_get(&s_force_sleep)) {
		return false;
	}
	// A SET_CONFIG_MODE(on) mesh opcode re-enters config mode, same as a button press.
	if (atomic_get(&s_enter_config)) {
		atomic_clear(&s_enter_config);
		return true;
	}
	return s_btn_event;
}

int main(void)
{
	printk("Starting vibamix\n");

	// Select the external antenna before any radio activity: power the RF switch
	// (U10) and drive RF_SW_CTL HIGH (-> RF2 -> ANT2, the external antenna).
	// Reconfigured on every wake since System OFF resets GPIO state.
	if (gpio_is_ready_dt(&rf_sw_pwr))
	{
		gpio_pin_configure_dt(&rf_sw_pwr, GPIO_OUTPUT_ACTIVE);
	}
	if (gpio_is_ready_dt(&rf_sw_ctl))
	{
		gpio_pin_configure_dt(&rf_sw_ctl, GPIO_OUTPUT_ACTIVE);
	}

	// Always wake into the identity frame, whether from a cold boot or a System OFF
	// button wake. A button press during the awake window then promotes into config
	// mode (run_awake_window() returns true). Still clear the sticky reset cause so
	// the next boot reads clean.
	(void)woke_from_button();
	bool config_mode = false;

	// Bring the LED strip up first so the boot animation is independent of the
	// ePaper/mesh. A strip failure is non-fatal — we still deep-sleep below.
	const bool leds_ok = (s_leds.init() == 0);

	// Start the ambient-light-sensor monitor AFTER the LED strip powers its rail:
	// the LTR-329 shares that gate, so the monitor must not poll I2C before it's up
	// (and stays quiet whenever the rail is off). It reads continuously while the
	// LEDs are lit and pulse-samples in config mode (see ambient_light_sensor.cpp).
	ambient_light_sensor_start(&s_leds);

	s_gui.init();

	if (gpio_is_ready_dt(&user_led))
	{
		gpio_pin_configure_dt(&user_led, GPIO_OUTPUT_INACTIVE);
	}

	const bool btn_ready = gpio_is_ready_dt(&user_btn);
	if (btn_ready)
	{
		gpio_pin_configure_dt(&user_btn, GPIO_INPUT);
		gpio_pin_interrupt_configure_dt(&user_btn, GPIO_INT_EDGE_TO_ACTIVE);
		gpio_init_callback(&btn_cb_data, button_pressed, BIT(user_btn.pin));
		gpio_add_callback(user_btn.port, &btn_cb_data);

		// Watch for a 5 s hold to force deep sleep from any awake state.
		k_timer_start(&s_longpress_timer, K_MSEC(kLongPressPollMs),
			      K_MSEC(kLongPressPollMs));
	}

	// Bring up the mesh node (BT + mesh stack, self-provision, GATT proxy, and
	// the per-device name used for Web Bluetooth discovery). Non-fatal.
	s_mesh.init(&s_gui, &s_leds);

	// Reaching here means BLE/mesh came up, so a freshly-OTA'd image is healthy:
	// confirm THIS slot in bl_state so the bootloader keeps it (idempotent no-op
	// on a normal boot). An image that crashes/hangs before this point fails to
	// confirm — the bootloader's attempt counter + watchdog then roll it back.
	ota_confirm_on_boot();

	// Now that we've confirmed, keep the watchdog fed (it was running unfed up to
	// this point to catch a hung bring-up). No-op if the bootloader didn't arm it.
	wdt_keepalive_start();

	if (!config_mode)
	{
		// Normal boot: rest on the identity frame (the home screen; "Hello World"
		// only on first boot with no name set). The config<->countdown loop below
		// then runs the awake window on top of it.
		s_mesh.apply_persisted_config();   // renders + set_base_map() + panel sleep
	}

	// Config <-> identity-countdown loop. Pressing the button in config mode drops
	// back to the identity frame and counts down to sleep (staying awake while an
	// event mesh heartbeats); pressing it during the countdown promotes back into
	// config mode. Only a countdown that times out with no event reaches deep sleep.
	for (;;)
	{
		if (config_mode)
		{
			// Woken by button (or promoted from the countdown): show the ID + QR and
			// stay awake so a phone can connect over GATT and upload a badge.
			printk("Entering config mode\n");
			if (leds_ok)
			{
				s_leds.off();   // keep it dark during config; battery-friendly
			}
			// LEDs (and the shared light-sensor rail) are dark now — have the ALS
			// briefly pulse the rail for config-screen lux instead of polling a dead bus.
			ambient_light_sensor_set_config_mode(true);
			s_config.run(&s_gui, &s_mesh, &user_btn);
			// Stop pulsing and wait for the rail to be released before we re-take it.
			ambient_light_sensor_set_config_mode(false);
			config_mode = false;

			// A 5 s hold ended config mode -> go straight to deep sleep, skipping the
			// identity restore + countdown.
			if (atomic_get(&s_force_sleep)) {
				break;
			}

			// Config left the QR / a pushed image on the panel — restore the identity
			// frame (and its LED) so the countdown window rests on it.
			if (leds_ok)
			{
				s_leds.power_on();
			}
			s_mesh.apply_persisted_config();
		}

		// Identity-frame countdown to sleep (heartbeat-aware "mesh mode").
		if (run_awake_window())
		{
			config_mode = true;   // button pressed during the countdown -> config
			continue;
		}

#if VIBAMIX_FAKE_SLEEP_UNDER_DEBUGGER
		// Timed out with no event. Under a debugger we can't cleanly enter System OFF
		// (a powered-down core can't be reset/halted), so wait for the next button
		// press to re-enter config instead of sleeping.
		if (debugger_attached())
		{
			printk("Debugger attached - skipping System OFF; resting asleep, press button for config mode\n");
			// Can't truly System OFF under a debugger, so simulate sleep: blank the LED
			// strip and rest the bistable panel on the asleep identity frame. Otherwise the
			// awake-window animation keeps running and it never looks asleep.
			s_leds.off();
			s_mesh.redraw_identity(/*sleeping=*/true);
			// Mirror real sleep: go radio-quiet while idling so this simulated sleep
			// matches the production power profile (no scanner/relay/beacon spikes).
			s_mesh.radio_suspend();
			wait_button_release();
			s_btn_event = false;
			while (!s_btn_event)
			{
				k_sleep(K_MSEC(50));
			}
			// Exit from (fake) deep sleep: bring BT/mesh back up before config mode,
			// which needs the BLE advertiser + GATT service.
			s_mesh.radio_resume();
			config_mode = true;
			continue;
		}
#endif

		break;
	}

	// Centralized deep-sleep: LEDs off, asleep frame, GPIO power-down, button armed
	// as the wake source, then System OFF.
	enter_deep_sleep();

	return 0;
}
```

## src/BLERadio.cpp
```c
#include "BLERadio.h"
#include <zephyr/bluetooth/hci.h>
#include <zephyr/sys/printk.h>

#define DEVICE_NAME     CONFIG_BT_DEVICE_NAME
#define DEVICE_NAME_LEN (sizeof(DEVICE_NAME) - 1)

static const struct bt_data ad[] = {
	BT_DATA_BYTES(BT_DATA_FLAGS, (BT_LE_AD_GENERAL | BT_LE_AD_NO_BREDR)),
	BT_DATA(BT_DATA_NAME_COMPLETE, DEVICE_NAME, DEVICE_NAME_LEN),
};

// Singleton pointer — lets file-scope BT callbacks dispatch to the instance.
static BLERadio *s_instance;

static void on_connected(struct bt_conn *conn, uint8_t err)
{
	if (s_instance) { s_instance->handle_connected(conn, err); }
}

static void on_disconnected(struct bt_conn *conn, uint8_t reason)
{
	if (s_instance) { s_instance->handle_disconnected(conn, reason); }
}

static void on_recycled(void)
{
	if (s_instance) { s_instance->handle_recycled(); }
}

BT_CONN_CB_DEFINE(conn_callbacks) = {
	.connected    = on_connected,
	.disconnected = on_disconnected,
	.recycled     = on_recycled,
};

void BLERadio::adv_work_handler(struct k_work *work)
{
	int err = bt_le_adv_start(BT_LE_ADV_CONN_FAST_2, ad, ARRAY_SIZE(ad), NULL, 0);
	if (err) {
		printk("Advertising failed to start (err %d)\n", err);
	}
}

int BLERadio::init(const struct gpio_dt_spec *status_led)
{
	m_led = status_led;
	s_instance = this;
	k_work_init(&m_adv_work, adv_work_handler);

	int err = bt_enable(NULL);
	if (err) {
		printk("Bluetooth init failed (err %d)\n", err);
		return err;
	}
	printk("Bluetooth initialized\n");
	return 0;
}

void BLERadio::start_advertising()
{
	k_work_submit(&m_adv_work);
}

void BLERadio::handle_connected(struct bt_conn *conn, uint8_t err)
{
	if (err) {
		printk("Connection failed (err 0x%02x)\n", err);
		return;
	}
	printk("Connected\n");
	if (m_led) { gpio_pin_set_dt(m_led, 1); }
}

void BLERadio::handle_disconnected(struct bt_conn *conn, uint8_t reason)
{
	printk("Disconnected (reason 0x%02x)\n", reason);
	if (m_led) { gpio_pin_set_dt(m_led, 0); }
	start_advertising();
}

void BLERadio::handle_recycled()
{
	start_advertising();
}
```

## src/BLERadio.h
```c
#ifndef VIBAMIX_BLE_RADIO_H
#define VIBAMIX_BLE_RADIO_H

#include <zephyr/bluetooth/bluetooth.h>
#include <zephyr/bluetooth/conn.h>
#include <zephyr/drivers/gpio.h>
#include <zephyr/kernel.h>

class BLERadio {
public:
    int init(const struct gpio_dt_spec *status_led);
    void start_advertising();

    // Called by file-scope BT_CONN_CB_DEFINE callbacks; not for external use.
    void handle_connected(struct bt_conn *conn, uint8_t err);
    void handle_disconnected(struct bt_conn *conn, uint8_t reason);
    void handle_recycled();

private:
    static void adv_work_handler(struct k_work *work);

    const struct gpio_dt_spec *m_led{nullptr};
    struct k_work m_adv_work;
};

#endif /* VIBAMIX_BLE_RADIO_H */
```

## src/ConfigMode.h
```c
#ifndef VIBAMIX_CONFIG_MODE_H
#define VIBAMIX_CONFIG_MODE_H

#include <stddef.h>
#include "GUI.h"

class MeshNode;
struct gpio_dt_spec;

/*
 * Config mode: entered when the badge is woken by the button (see main.cpp).
 * Renders the unique ID + QR screen, lets a phone connect over the custom GATT
 * config service and upload a drawing / set a name, and stays awake until a
 * timeout of inactivity or a second button press. main() then powers off.
 */
class ConfigMode {
public:
    // Blocks until the config window closes. BLE/mesh must already be up. `btn`
    // is the user button, polled so the entering/waking press doesn't immediately
    // count as the exit press.
    void run(GUI *gui, MeshNode *mesh, const struct gpio_dt_spec *btn);

    // Called from GATT/connection events to keep the window open.
    void note_activity();
    // Called from the button ISR (via config_mode_on_button) to exit.
    void request_exit();
    // GATT name-write handler bridge.
    void on_name(const char *s, size_t len);
    // Image-upload completion: render it (it takes over the screen) and stop the
    // countdown from repainting over it.
    void on_content_image(uint8_t slot, uint8_t fmt, const uint8_t *buf, size_t len,
                          uint16_t w, uint16_t h);
    // GATT screen/display handler bridges.
    void on_screen(uint8_t idx, const char *hdr, size_t hlen,
                   const char *body, size_t blen);
    void on_display(uint8_t kind, uint8_t idx);
    // OTA: show a status screen while the firmware image streams in / applies.
    void on_ota_start(uint32_t total);
    void on_ota_end(bool ok);
    // Config-command bridges for the attendee/table ID and per-frame LED.
    void on_attendee(const char *s, size_t len);
    void on_frame_led(uint8_t kind, uint8_t idx, uint8_t anim,
                      uint8_t r, uint8_t g, uint8_t b);
    // Gateway bridge: re-originate a vendor-model access payload onto the mesh.
    void on_mesh_tx(const uint8_t *access, size_t len);

private:
    GUI      *m_gui{nullptr};
    MeshNode *m_mesh{nullptr};
};

#ifdef __cplusplus
extern "C" {
#endif

// Hook for the user-button ISR to request exiting config mode.
void config_mode_on_button(void);
// Request exiting config mode from a non-button source (e.g. the SET_CONFIG_MODE
// mesh opcode). No-op if config mode isn't currently running. Same effect as the
// button-exit path.
void config_mode_request_exit(void);
// Provided by main.cpp: true once the user has held the button long enough to force
// deep sleep. ConfigMode polls this to abandon its window so main() can power off.
bool app_force_sleep_requested(void);
// Provided by main.cpp: request entering config mode from a non-button source (the
// SET_CONFIG_MODE mesh opcode). Best-effort — only consumed while the badge is awake
// (run_awake_window); a System OFF badge's radio is down and never sees the opcode.
void app_request_config_mode(void);
// Mesh-RX hooks (run on the BT thread): keep an awake badge awake. `on_content`
// also marks the screen as taken over so the countdown stops repainting.
void config_mode_on_heartbeat(void);
void config_mode_on_content(void);

#ifdef __cplusplus
}
#endif

#endif /* VIBAMIX_CONFIG_MODE_H */
```

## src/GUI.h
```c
#ifndef VIBAMIX_GUI_H
#define VIBAMIX_GUI_H

#include <stddef.h>
#include <stdint.h>
#include "Display_EPD_W21.h"

class GUI {
public:
    void init();

    // Re-initialize the panel after a deep sleep, before redrawing.
    void wake();

    void show_hello_world();

    // Draw the badge identity screen: name (large) + fun fact (wrapped).
    void show_text(const char *name, const char *fun_fact);

    // Blit a full 1bpp framebuffer to the panel. `buf` is normally framebuffer()
    // itself (image_xfer reassembles straight into it), so no copy is needed.
    void render_image(const uint8_t *buf, size_t len);

    void show_als_readings(uint32_t lux, uint32_t gain, uint16_t ch0_raw, uint16_t ch1_raw, bool valid, const char *diag);

    void sleep();

    // Full refresh that also sets the partial-refresh baseline (both RAM banks),
    // for screens that will then be updated with refresh_partial(). Renders
    // whatever is currently in framebuffer().
    void set_base_map();

    // Fast, flash-free differential update of the current framebuffer. Requires a
    // prior set_base_map(). Use for the live config-screen countdown.
    void refresh_partial();

    // The display framebuffer, shared with image_xfer for in-place reassembly.
    uint8_t *framebuffer() { return m_image; }
    size_t   framebuffer_size() const { return sizeof(m_image); }

private:
    uint8_t m_image[EPD_WIDTH * EPD_HEIGHT / 8];
};

#endif /* VIBAMIX_GUI_H */
```
